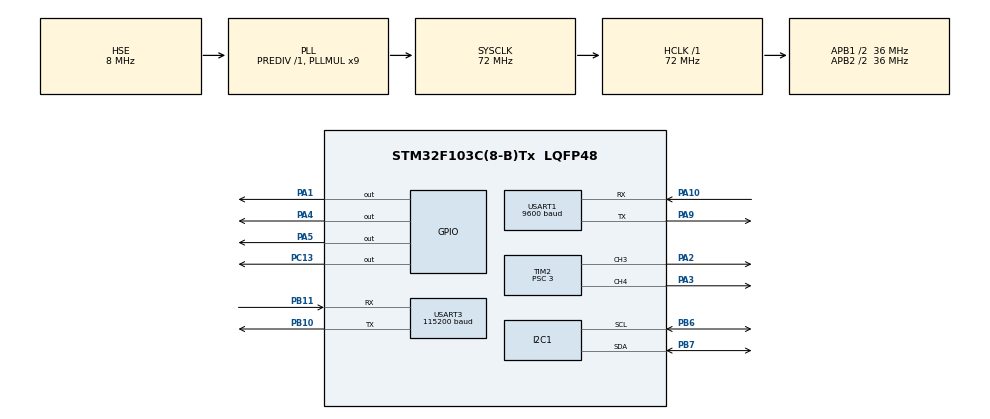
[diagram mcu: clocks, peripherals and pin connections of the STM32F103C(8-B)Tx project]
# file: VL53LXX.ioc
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I2C1.AddressingMode=I2C_ADDRESSINGMODE_7BIT
I2C1.I2C_Mode=I2C_Standard
I2C1.OwnAddress=0
Mcu.Family=STM32F1
Mcu.Name=STM32F103C(8-B)Tx
Mcu.Package=LQFP48
NVIC.I2C1_ER_IRQn=true\:0\:0\:false\:false\:true\:true\:true
NVIC.I2C1_EV_IRQn=true\:0\:0\:false\:false\:true\:true\:true
NVIC.PriorityGroup=NVIC_PRIORITYGROUP_4
NVIC.TIM3_IRQn=true\:0\:0\:false\:false\:true\:true\:true
NVIC.USART1_IRQn=true\:0\:0\:false\:false\:true\:true\:true
NVIC.USART3_IRQn=true\:0\:0\:false\:false\:true\:true\:true
PA1.Signal=GPIO_Output
PA10.Mode=Asynchronous
PA10.Signal=USART1_RX
PA13.Mode=Serial_Wire
PA13.Signal=SYS_JTMS-SWDIO
PA14.Mode=Serial_Wire
PA14.Signal=SYS_JTCK-SWCLK
PA2.Signal=S_TIM2_CH3
PA3.Signal=S_TIM2_CH4
PA4.Signal=GPIO_Output
PA5.GPIO_Speed=GPIO_SPEED_FREQ_HIGH
PA5.Signal=GPIO_Output
PA9.Mode=Asynchronous
PA9.Signal=USART1_TX
PB10.Mode=Asynchronous
PB10.Signal=USART3_TX
PB11.Mode=Asynchronous
PB11.Signal=USART3_RX
PB6.GPIO_Speed=GPIO_SPEED_FREQ_HIGH
PB6.Mode=I2C
PB6.Signal=I2C1_SCL
PB7.GPIO_Speed=GPIO_SPEED_FREQ_HIGH
PB7.Mode=I2C
PB7.Signal=I2C1_SDA
PC13-TAMPER-RTC.Signal=GPIO_Output
PD0-OSC_IN.Mode=HSE-External-Oscillator
PD0-OSC_IN.Signal=RCC_OSC_IN
PD1-OSC_OUT.Mode=HSE-External-Oscillator
PD1-OSC_OUT.Signal=RCC_OSC_OUT
ProjectManager.HeapSize=0x200
ProjectManager.StackSize=0x400
ProjectManager.TargetToolchain=TrueSTUDIO
RCC.AHBFreq_Value=72000000
RCC.APB1CLKDivider=RCC_HCLK_DIV2
RCC.APB1Freq_Value=36000000
RCC.APB1TimFreq_Value=72000000
RCC.APB2CLKDivider=RCC_HCLK_DIV2
RCC.APB2Freq_Value=36000000
RCC.APB2TimFreq_Value=72000000
RCC.HCLKFreq_Value=72000000
RCC.PLLMUL=RCC_PLL_MUL9
RCC.PLLSourceVirtual=RCC_PLLSOURCE_HSE
RCC.SYSCLKFreq_VALUE=72000000
RCC.SYSCLKSource=RCC_SYSCLKSOURCE_PLLCLK
RCC.USBFreq_Value=72000000
SH.S_TIM2_CH3.0=TIM2_CH3,PWM Generation3 CH3
SH.S_TIM2_CH4.0=TIM2_CH4,PWM Generation4 CH4
TIM2.AutoReloadPreload=TIM_AUTORELOAD_PRELOAD_DISABLE
TIM2.Channel-PWM\ Generation3\ CH3=TIM_CHANNEL_3
TIM2.Channel-PWM\ Generation4\ CH4=TIM_CHANNEL_4
TIM2.Period=65535
TIM2.Prescaler=3
TIM2.TIM_MasterOutputTrigger=TIM_TRGO_RESET
TIM3.Period=1439
TIM3.Prescaler=0
TIM3.TIM_MasterOutputTrigger=TIM_TRGO_UPDATE
USART1.BaudRate=9600
USART1.VirtualMode=VM_ASYNC
USART3.BaudRate=115200
USART3.VirtualMode=VM_ASYNC
VP_TIM2_VS_ClockSourceINT.Mode=Internal
VP_TIM3_VS_ClockSourceINT.Mode=Internal
board=custom

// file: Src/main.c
/* USER CODE BEGIN Header */
/**
  ******************************************************************************
  * @file           : main.c
  * @brief          : Main program body
  ******************************************************************************
  * @attention
  *
  * <h2><center>&copy; Copyright (c) 2020 STMicroelectronics.
  * All rights reserved.</center></h2>
  *
  * This software component is licensed by ST under BSD 3-Clause license,
  * the "License"; You may not use this file except in compliance with the
  * License. You may obtain a copy of the License at:
  *                        opensource.org/licenses/BSD-3-Clause
  *
  ******************************************************************************
  */
/* USER CODE END Header */

#include "main.h"
#include "i2c.h"
#include "tim.h"
#include "usart.h"
#include "gpio.h"

/* USER CODE BEGIN Includes */
#include "vl53l0x_api.h"
/* USER CODE END Includes */

/* USER CODE BEGIN PTD */
typedef enum {
	LONG_RANGE 		= 0, /*!< Long range mode */
	HIGH_SPEED 		= 1, /*!< High speed mode */
	HIGH_ACCURACY	= 2, /*!< High accuracy mode */
} RangingConfig_e;

/* USER CODE END PTD */

/* USER CODE BEGIN PV */

VL53L0X_RangingMeasurementData_t RangingMeasurementData;
//VL53L0X_Dev_t VL53L0XDevs[]={
//        {.Id=XNUCLEO53L0A1_DEV_LEFT, .DevLetter='l', .I2cHandle=&XNUCLEO53L0A1_hi2c, .I2cDevAddr=0x52},
//        {.Id=XNUCLEO53L0A1_DEV_CENTER, .DevLetter='c', .I2cHandle=&XNUCLEO53L0A1_hi2c, .I2cDevAddr=0x52},
//        {.Id=XNUCLEO53L0A1_DEV_RIGHT, .DevLetter='r', .I2cHandle=&XNUCLEO53L0A1_hi2c, .I2cDevAddr=0x52},
//};

VL53L0X_Dev_t VL53L0XDevs[]={{.I2cHandle=&hi2c1}};
int LeakyFactorFix8 = (int)( 0.6 *256);
/** How many device detect set by @a DetectSensors()*/
int nDevPresent=0;

int sensor_status;
int sensors=0;

RangingConfig_e RangingConfig;
/* USER CODE END PV */

void SystemClock_Config(void);
/* USER CODE BEGIN PFP */
void SetupSingleShot(RangingConfig_e rangingConfig);
int DetectSensors(uint8_t addr);
/* USER CODE END PFP */

int main(void)
{

  /* MCU Configuration--------------------------------------------------------*/

  /* Reset of all peripherals, Initializes the Flash interface and the Systick. */
  HAL_Init();

  /* Configure the system clock */
  SystemClock_Config();

  /* Initialize all configured peripherals */
  MX_GPIO_Init();
  MX_TIM2_Init();
  MX_TIM3_Init();
  MX_USART1_UART_Init();
  MX_USART3_UART_Init();
  MX_I2C1_Init();
  /* USER CODE BEGIN 2 */

//
  for(uint16_t i = 0; i<255; i++)
  {
	    nDevPresent=DetectSensors(i);
		if(nDevPresent!=0)
		{
			VL53L0XDevs[0].I2cDevAddr = i;
			break;
		}

  }
  RangingConfig =  LONG_RANGE;
  HAL_Delay(1000);
  /* Set VL53L0X API trace level */
  VL53L0X_trace_config(NULL, TRACE_MODULE_NONE, TRACE_LEVEL_NONE, TRACE_FUNCTION_NONE); // No Trace
  //VL53L0X_trace_config(NULL,TRACE_MODULE_ALL, TRACE_LEVEL_ALL, TRACE_FUNCTION_ALL); // Full trace
  sensor_status=VL53L0X_DataInit(&VL53L0XDevs[0]);
  sensor_status=VL53L0X_StaticInit(&VL53L0XDevs[0]);
  /* USER CODE END 2 */

  /* Infinite loop */
  while (1)
  {

    /* USER CODE BEGIN 3 */

	  SetupSingleShot(RangingConfig);
	 /* only one sensor */
	 /* Call All-In-One blocking API function */
	  sensor_status = VL53L0X_PerformSingleRangingMeasurement(&VL53L0XDevs[0],&RangingMeasurementData);
	  HAL_Delay(100);
	  RangingConfig = (RangingConfig == LONG_RANGE) ? HIGH_SPEED :
	  ((RangingConfig == HIGH_SPEED) ? HIGH_ACCURACY : LONG_RANGE);

	  sensor_status=VL53L0X_ResetDevice(&VL53L0XDevs[0]);

  }
  /* USER CODE END 3 */
}

void SystemClock_Config(void)
{
  RCC_OscInitTypeDef RCC_OscInitStruct = {0};
  RCC_ClkInitTypeDef RCC_ClkInitStruct = {0};

  /** Initializes the CPU, AHB and APB busses clocks
  */
  RCC_OscInitStruct.OscillatorType = RCC_OSCILLATORTYPE_HSE;
  RCC_OscInitStruct.HSEState = RCC_HSE_ON;
  RCC_OscInitStruct.HSEPredivValue = RCC_HSE_PREDIV_DIV1;
  RCC_OscInitStruct.HSIState = RCC_HSI_ON;
  RCC_OscInitStruct.PLL.PLLState = RCC_PLL_ON;
  RCC_OscInitStruct.PLL.PLLSource = RCC_PLLSOURCE_HSE;
  RCC_OscInitStruct.PLL.PLLMUL = RCC_PLL_MUL9;
  if (HAL_RCC_OscConfig(&RCC_OscInitStruct) != HAL_OK)
  {
    Error_Handler();
  }
  /** Initializes the CPU, AHB and APB busses clocks
  */
  RCC_ClkInitStruct.ClockType = RCC_CLOCKTYPE_HCLK|RCC_CLOCKTYPE_SYSCLK
                              |RCC_CLOCKTYPE_PCLK1|RCC_CLOCKTYPE_PCLK2;
  RCC_ClkInitStruct.SYSCLKSource = RCC_SYSCLKSOURCE_PLLCLK;
  RCC_ClkInitStruct.AHBCLKDivider = RCC_SYSCLK_DIV1;
  RCC_ClkInitStruct.APB1CLKDivider = RCC_HCLK_DIV2;
  RCC_ClkInitStruct.APB2CLKDivider = RCC_HCLK_DIV2;

  if (HAL_RCC_ClockConfig(&RCC_ClkInitStruct, FLASH_LATENCY_2) != HAL_OK)
  {
    Error_Handler();
  }
}

/* USER CODE BEGIN 4 */
/**
 * Reset all sensor then do presence detection
 *
 * All present devices are data initiated and assigned to their final I2C address
 * @return
 */
int DetectSensors(uint8_t addr) {
    int i=0;
    uint16_t Id;
    volatile int status = 0;
 //   int FinalAddress;

//    for (i = 0; i < 3; i++) {
	VL53L0X_Dev_t *pDev;
	pDev = &VL53L0XDevs[i];
	pDev->I2cHandle = &hi2c1;
	pDev->I2cDevAddr = addr;
	pDev->Present = 0;
	HAL_Delay(2);
//	FinalAddress=addr+(i+1)*2;

	do {
		/* Set I2C standard mode (400 KHz) before doing the first register access */
		if (status == VL53L0X_ERROR_NONE)
			status = VL53L0X_WrByte(pDev, 0x88, 0x00);

		/* Try to read one register using default 0x52 address */
		status = VL53L0X_RdWord(pDev, VL53L0X_REG_IDENTIFICATION_MODEL_ID, &Id);
		if (status) {
			break;
		}
		if (Id == 0xEEAA) {
//			/* Sensor is found */
			nDevPresent++;
			pDev->Present = 1;
		}
		else {
			status = 1;
		}
	} while (0);

    return nDevPresent;
}

/**
 *  Setup all detected sensors for single shot mode and setup ranging configuration
 */
void SetupSingleShot(RangingConfig_e rangingConfig){
    int i = 0;
    int status;
    uint8_t VhvSettings;
    uint8_t PhaseCal;
    uint32_t refSpadCount;
	uint8_t isApertureSpads;
	FixPoint1616_t signalLimit = (FixPoint1616_t)(0.25*65536);
	FixPoint1616_t sigmaLimit = (FixPoint1616_t)(18*65536);
	uint32_t timingBudget = 33000;
	uint8_t preRangeVcselPeriod = 14;
	uint8_t finalRangeVcselPeriod = 10;

	if( VL53L0XDevs[i].Present){
		status=VL53L0X_StaticInit(&VL53L0XDevs[i]);

		status = VL53L0X_PerformRefCalibration(&VL53L0XDevs[i], &VhvSettings, &PhaseCal);

		status = VL53L0X_PerformRefSpadManagement(&VL53L0XDevs[i], &refSpadCount, &isApertureSpads);

		status = VL53L0X_SetDeviceMode(&VL53L0XDevs[i], VL53L0X_DEVICEMODE_SINGLE_RANGING); // Setup in single ranging mode

		status = VL53L0X_SetLimitCheckEnable(&VL53L0XDevs[i], VL53L0X_CHECKENABLE_SIGMA_FINAL_RANGE, 1); // Enable Sigma limit

		status = VL53L0X_SetLimitCheckEnable(&VL53L0XDevs[i], VL53L0X_CHECKENABLE_SIGNAL_RATE_FINAL_RANGE, 1); // Enable Signa limit

		/* Ranging configuration */
		switch(rangingConfig) {
				case LONG_RANGE:
					signalLimit = (FixPoint1616_t)(0.1*65536);
					sigmaLimit = (FixPoint1616_t)(60*65536);
					timingBudget = 33000;
					preRangeVcselPeriod = 18;
					finalRangeVcselPeriod = 14;
					break;
				case HIGH_ACCURACY:
					signalLimit = (FixPoint1616_t)(0.25*65536);
					sigmaLimit = (FixPoint1616_t)(18*65536);
					timingBudget = 200000;
					preRangeVcselPeriod = 14;
					finalRangeVcselPeriod = 10;
					break;
				case HIGH_SPEED:
					signalLimit = (FixPoint1616_t)(0.25*65536);
					sigmaLimit = (FixPoint1616_t)(32*65536);
					timingBudget = 20000;
					preRangeVcselPeriod = 14;
					finalRangeVcselPeriod = 10;
					break;
				default:
					break;
		}

		status = VL53L0X_SetLimitCheckValue(&VL53L0XDevs[i],  VL53L0X_CHECKENABLE_SIGNAL_RATE_FINAL_RANGE, signalLimit);

		status = VL53L0X_SetLimitCheckValue(&VL53L0XDevs[i],  VL53L0X_CHECKENABLE_SIGMA_FINAL_RANGE, sigmaLimit);

		status = VL53L0X_SetMeasurementTimingBudgetMicroSeconds(&VL53L0XDevs[i],  timingBudget);

		status = VL53L0X_SetVcselPulsePeriod(&VL53L0XDevs[i],  VL53L0X_VCSEL_PERIOD_PRE_RANGE, preRangeVcselPeriod);

		status = VL53L0X_SetVcselPulsePeriod(&VL53L0XDevs[i],  VL53L0X_VCSEL_PERIOD_FINAL_RANGE, finalRangeVcselPeriod);

		status = VL53L0X_PerformRefCalibration(&VL53L0XDevs[i], &VhvSettings, &PhaseCal);

		VL53L0XDevs[i].LeakyFirst=1;

    }
}

/* Store new ranging data into the device structure, apply leaky integrator if needed */
void Sensor_SetNewRange(VL53L0X_Dev_t *pDev, VL53L0X_RangingMeasurementData_t *pRange){
    if( pRange->RangeStatus == 0 ){
        if( pDev->LeakyFirst ){
            pDev->LeakyFirst = 0;
            pDev->LeakyRange = pRange->RangeMilliMeter;
        }
        else{
            pDev->LeakyRange = (pDev->LeakyRange*LeakyFactorFix8 + (256-LeakyFactorFix8)*pRange->RangeMilliMeter)>>8;
        }
    }
    else{
        pDev->LeakyFirst = 1;
    }
}

/* USER CODE END 4 */

void Error_Handler(void)
{
}

/************************ (C) COPYRIGHT STMicroelectronics *****END OF FILE****/
